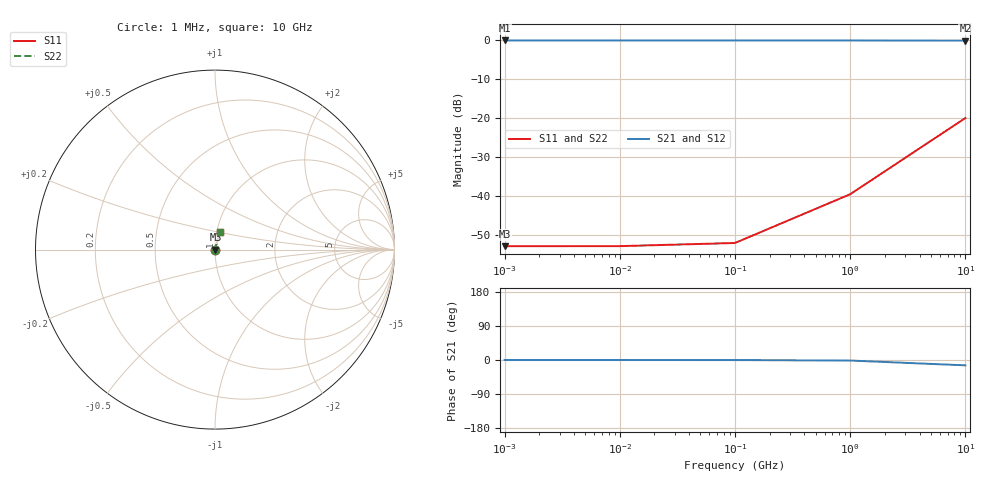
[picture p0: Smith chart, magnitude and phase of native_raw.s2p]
! Sonnet Data File
! From: em Version : 18.53-Lite
! From Project: project
! Data is NOT De-embedded
! Data File Written: 10/12/2026 22:10:23
!< HDATE 10/12/2026 22:10:23
!< MDATE 10/12/2026 22:10:23
# GHZ S RI R 50.00000
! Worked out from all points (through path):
!   5 points, 1 MHz to 10 GHz, reference 50 ohm
!   highest |S21| = -0.02 dB at 1 MHz (marker M1); lowest = -0.1 dB at 10 GHz (marker M2)
!   lowest |S11| = -53.0 dB at 1 MHz (marker M3), VSWR 1.00, Z = 50.2 + j0.00103 ohm
!   |S11| at or under -10 dB: start of sweep to end of sweep
!   |S22| runs from -53.0 to -20.0 dB; largest |S21 - S12| = 5.7e-13
0.001  0.00225 1.03e-05  0.9977 -2.48e-05  0.9977 -2.48e-05  0.00225 1.03e-05
0.01  0.00225 0.000102  0.9977 -0.000247  0.9977 -0.000247  0.00225 0.000102
0.1  0.00225 0.00102  0.9977 -0.00247  0.9977 -0.00247  0.00225 0.00102
1  0.00253 0.0102  0.9974 -0.0247  0.9974 -0.0247  0.00253 0.0102
10  0.0274 0.0964  0.962 -0.2415  0.962 -0.2415  0.0274 0.0964
